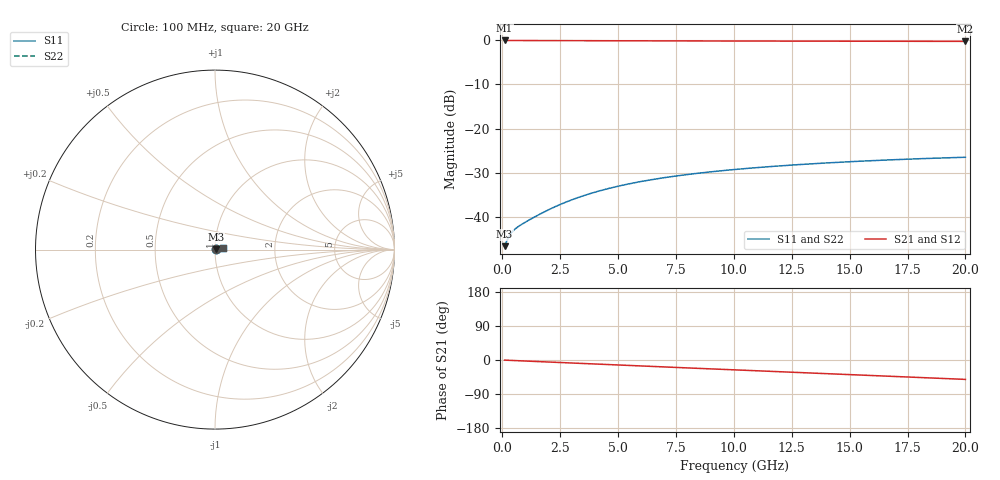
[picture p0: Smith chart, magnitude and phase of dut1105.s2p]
! Touchstone file exported from HFSS 2026.1.0
!  File:  C:/ffzhzh/LocalFiles/Ansys_Project_Files/temp_train_BSMRDL_1105_1783174861_22436.aedt
!  Generated:  10:22:13 PM Jul  4, 2026
!  Design:  BSMRDL
!  Project:  temp_train_BSMRDL_1105_1783174861_22436
! Variables:
!  h_bsmrdl = 4.14um
!  h_ox = 20um
!  h_rdl = 5um
!  h_sub = 80um
!  h_tmrdl = 5um
!  h_tsv = 80um
!  h_via = 3um
!  l_bsmrdl = 925um
!  l_sub = 1325um
!  l_tmrdl = 200um
!  m_sub = 200um
!  pitch = 23.45um
!  r_tsv = 6um
!  s_tmrdl = 10um
!  w_bsmrdl = 18.64um
!  w_sub = 500um
!  w_tmrdl = 12um
!  x_tsv_center1 = 206um
!  x_tsv_center2 = 1149.64um
!  x_tsv_center3 = 1361.64um
!  x_tsv_center4 = 2305.28um
!  x_tsv_center5 = 2517.28um
!  x_tsv_center6 = 3460.92um
# GHz S MA R 50.000000
! Terminal data exported
! Port[1] = BSM_RDL1_1_T1
! Port[2] = BSM_RDL1_1_T2
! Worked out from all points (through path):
!   200 points, 100 MHz to 20 GHz, reference 50 ohm
!   highest |S21| = -0.04 dB at 100 MHz (marker M1); lowest = -0.2 dB at 20 GHz (marker M2)
!   group delay of S21, straight-line fit = 7.07 ps
!   lowest |S11| = -46.7 dB at 100 MHz (marker M3), VSWR 1.01, Z = 50.5 + j0.114 ohm
!   |S11| at or under -10 dB: start of sweep to end of sweep
!   |S22| runs from -46.7 to -26.5 dB; largest |S21 - S12| = 2.7e-15
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0.1  0.004639 14.1  0.9955 -0.3  0.9955 -0.3  0.004639 14.1
! Gamma 0 0 0 0
! Port Impedance 50 0 50 0
0.2  0.005363 21.7  0.995 -0.6  0.995 -0.6  0.005363 21.7
0.3  0.006057 25.0  0.9946 -0.9  0.9946 -0.9  0.006056 25.0
0.4  0.006615 26.7  0.9942 -1.1  0.9942 -1.1  0.006612 26.7
0.5  0.007059 27.9  0.9939 -1.4  0.9939 -1.4  0.007056 27.9
0.6  0.007433 29.1  0.9936 -1.7  0.9936 -1.7  0.00743 29.1
0.8  0.008082 31.6  0.9933 -2.2  0.9933 -2.2  0.008079 31.6
1.4  0.009959 38.4  0.9926 -3.8  0.9926 -3.8  0.009957 38.4
2.1  0.01235 43.2  0.9918 -5.6  0.9918 -5.6  0.01235 43.2
2.8  0.01484 45.3  0.991 -7.5  0.991 -7.5  0.01483 45.3
3.5  0.01729 45.7  0.99 -9.3  0.99 -9.3  0.01728 45.8
4.2  0.01965 45.2  0.9889 -11.1  0.9889 -11.1  0.01964 45.2
5  0.02219 43.8  0.9877 -13.2  0.9877 -13.2  0.02217 43.9
5.9  0.02482 41.9  0.9863 -15.5  0.9863 -15.5  0.02481 42.0
6.8  0.02723 39.7  0.9849 -17.8  0.9849 -17.8  0.02721 39.8
8.3  0.03079 35.9  0.9828 -21.6  0.9828 -21.6  0.03075 36.1
10.1  0.03444 31.4  0.9806 -26.2  0.9806 -26.2  0.03439 31.6
11.7  0.03724 27.5  0.9788 -30.3  0.9788 -30.3  0.03717 27.7
13.4  0.03986 23.4  0.9772 -34.5  0.9772 -34.5  0.03977 23.7
15  0.04204 19.7  0.9757 -38.6  0.9757 -38.6  0.04193 20.0
16.7  0.04408 15.7  0.9743 -42.9  0.9743 -42.9  0.04395 16.1
20  0.04723 8.1  0.9718 -51.2  0.9718 -51.2  0.04707 8.5
